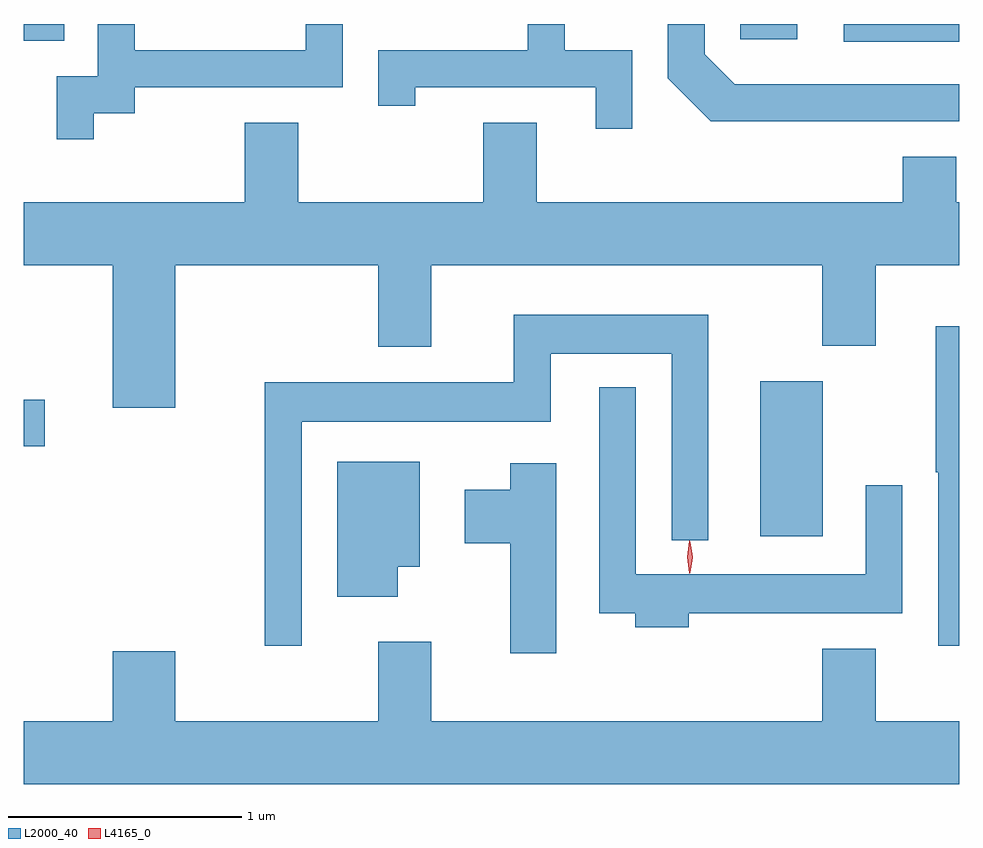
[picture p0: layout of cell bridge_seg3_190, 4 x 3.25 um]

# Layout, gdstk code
import gdstk
lib = gdstk.Library(unit=1e-6, precision=1e-09)
def R(c, l, rs):  # rectangles x0, y0, x1, y1
    for r in rs: c.add(gdstk.rectangle(r[:2], r[2:], *l))
def P(c, l, *ps):  # polygons
    for p in ps: c.add(gdstk.Polygon(p, *l))
L2000_40 = (2000, 40)
L4165_0 = (4165, 0)

bridge_seg3_190 = lib.new_cell('bridge_seg3_190')
R(bridge_seg3_190, L2000_40, [(897.166,1184.796,897.434,1185.459), (894.016,1185.181,894.104,1185.379), (897.523,1186.911,898.016,1186.987), (894.016,1186.916,894.188,1186.987), (897.081,1186.921,897.323,1186.987)])
P(bridge_seg3_190, L2000_40, [(896.619,1186.874),(896.329,1186.874),(896.329,1186.987),(896.171,1186.987),(896.171,1186.874),(895.531,1186.874),(895.531,1186.638),(895.689,1186.638),(895.689,1186.716),(896.461,1186.716),(896.461,1186.538),(896.619,1186.538)],
  [(898.016,1186.729),(897.057,1186.729),(896.929,1186.857),(896.929,1186.987),(896.771,1186.987),(896.771,1186.754),(896.954,1186.571),(898.016,1186.571)],
  [(894.314,1186.606),(894.489,1186.606),(894.489,1186.716),(895.379,1186.716),(895.379,1186.987),(895.221,1186.987),(895.221,1186.874),(894.489,1186.874),(894.489,1186.987),(894.331,1186.987),(894.331,1186.764),(894.156,1186.764),(894.156,1186.493),(894.314,1186.493)],
  [(894.664,1185.956),(895.531,1185.956),(895.531,1185.606),(895.759,1185.606),(895.759,1185.956),(897.431,1185.956),(897.431,1185.611),(897.659,1185.611),(897.659,1185.956),(898.016,1185.956),(898.016,1186.224),(898.004,1186.224),(898.004,1186.419),(897.776,1186.419),(897.776,1186.224),(896.209,1186.224),(896.209,1186.564),(895.981,1186.564),(895.981,1186.224),(895.189,1186.224),(895.189,1186.564),(894.961,1186.564),(894.961,1186.224),(894.016,1186.224),(894.016,1185.956),(894.396,1185.956),(894.396,1185.346),(894.664,1185.346)],
  [(895.204,1185.286),(896.269,1185.286),(896.269,1185.576),(896.786,1185.576),(896.786,1184.778),(896.944,1184.778),(896.944,1185.744),(896.111,1185.744),(896.111,1185.454),(895.046,1185.454),(895.046,1184.328),(895.204,1184.328)],
  [(898.016,1185.694),(897.916,1185.694),(897.916,1185.07),(897.926,1185.07),(897.926,1184.328),(898.016,1184.328)],
  [(896.859,1184.466),(897.774,1184.466),(897.774,1185.013),(897.616,1185.013),(897.616,1184.634),(896.634,1184.634),(896.634,1185.433),(896.476,1185.433),(896.476,1184.466),(896.631,1184.466),(896.631,1184.406),(896.859,1184.406)],
  [(895.614,1184.666),(895.709,1184.666),(895.709,1185.114),(895.356,1185.114),(895.356,1184.536),(895.614,1184.536)],
  [(896.294,1185.109),(896.096,1185.109),(896.096,1184.994),(895.901,1184.994),(895.901,1184.766),(896.096,1184.766),(896.096,1184.296),(896.294,1184.296)],
  [(898.016,1184.004),(897.659,1184.004),(897.659,1184.314),(897.431,1184.314),(897.431,1184.004),(895.759,1184.004),(895.759,1184.344),(895.531,1184.344),(895.531,1184.004),(894.664,1184.004),(894.664,1184.304),(894.396,1184.304),(894.396,1184.004),(894.016,1184.004),(894.016,1183.736),(898.016,1183.736)])
P(bridge_seg3_190, L4165_0, [(896.863,1184.637),(896.862,1184.638),(896.853,1184.707),(896.862,1184.776),(896.863,1184.776),(896.864,1184.776),(896.873,1184.707),(896.864,1184.638)],
  [(896.866,1184.639),(896.865,1184.64),(896.856,1184.706),(896.865,1184.772),(896.866,1184.773),(896.866,1184.772),(896.876,1184.706),(896.866,1184.64)])

lib.write_gds('bridge_seg3_190.gds')
